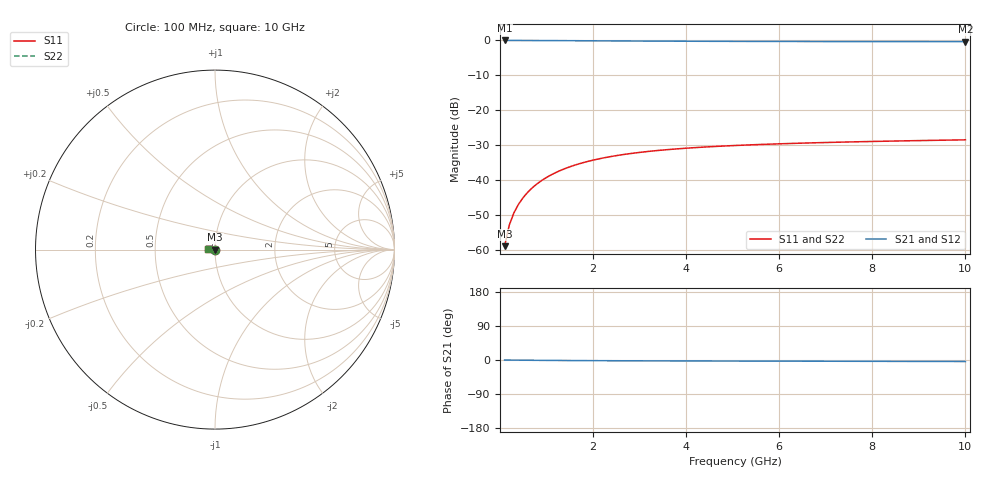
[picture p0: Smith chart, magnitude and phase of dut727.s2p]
! Touchstone file exported from HFSS 2024.1.0
!  File:  C:/UserFiles/LocalFiles/RDL_TSV_Batchsim/temp_TSV1_727_1779868943.aedt
!  Generated:  04:09:58 PM May 27, 2026
!  Design:  TSV1
!  Project:  temp_TSV1_727_1779868943
!  Setup:  Setup1
!  Solution:  Sweep
! Variables:
!  dtsv = 13.55um
!  hbump = 3um
!  htsv = 57.69um
!  lrdl = 252.1521522um
!  p = 40
!  p1 = 59.17um
!  t = 500um
!  trdl = 3um
!  wrdl = 24.89489489um
# GHz S MA R 50.000000
! Terminal data exported
! Port[1] = TSV22_T1
! Port[2] = TSV22_T2
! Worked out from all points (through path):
!   100 points, 100 MHz to 10 GHz, reference 50 ohm
!   highest |S21| = 0.00 dB at 100 MHz (marker M1); lowest = -0.3 dB at 10 GHz (marker M2)
!   lowest |S11| = -58.8 dB at 100 MHz (marker M3), VSWR 1.00, Z = 50 - j0.115 ohm
!   |S11| at or under -10 dB: start of sweep to end of sweep
!   |S22| runs from -58.8 to -28.4 dB; largest |S21 - S12| = 2e-15
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0.1  0.001151 -88.6  0.9999 -0.1  0.9999 -0.1  0.001151 -88.6
! Gamma 0 0 0 0
! Port Impedance 50 0 50 0
0.2  0.002299 -92.2  0.9997 -0.2  0.9997 -0.2  0.002299 -92.2
0.3  0.003445 -94.7  0.9995 -0.3  0.9995 -0.3  0.003445 -94.7
0.4  0.004584 -97.0  0.9992 -0.4  0.9992 -0.4  0.004584 -97.0
0.5  0.005711 -99.2  0.9989 -0.5  0.9989 -0.5  0.005711 -99.2
0.6  0.00682 -101.3  0.9984 -0.6  0.9984 -0.6  0.00682 -101.3
0.7  0.00791 -103.4  0.9979 -0.7  0.9979 -0.7  0.00791 -103.4
0.8  0.008977 -105.4  0.9973 -0.8  0.9973 -0.8  0.008977 -105.4
0.9  0.01002 -107.4  0.9967 -0.9  0.9967 -0.9  0.01002 -107.4
1.1  0.01202 -111.2  0.9954 -1.1  0.9954 -1.1  0.01202 -111.2
1.4  0.01479 -116.7  0.9931 -1.3  0.9931 -1.3  0.01479 -116.7
1.6  0.01649 -120.1  0.9915 -1.5  0.9915 -1.5  0.01649 -120.1
1.8  0.01805 -123.3  0.9899 -1.6  0.9899 -1.6  0.01805 -123.3
2.1  0.02018 -127.8  0.9874 -1.8  0.9874 -1.8  0.02018 -127.8
2.5  0.02262 -133.3  0.9843 -2.0  0.9843 -2.0  0.02262 -133.3
2.9  0.02468 -138.2  0.9814 -2.1  0.9814 -2.1  0.02468 -138.2
3.4  0.02682 -143.6  0.9782 -2.3  0.9782 -2.3  0.02682 -143.6
4.2  0.02947 -151.0  0.9739 -2.6  0.9739 -2.6  0.02947 -151.0
5.1  0.03167 -157.9  0.9703 -2.8  0.9703 -2.8  0.03167 -157.9
6.7  0.03442 -167.7  0.9657 -3.2  0.9657 -3.2  0.03442 -167.7
8.4  0.03648 -175.9  0.9627 -3.6  0.9627 -3.6  0.03648 -175.9
10  0.03803 177.6  0.9607 -4.0  0.9607 -4.0  0.03803 177.6
